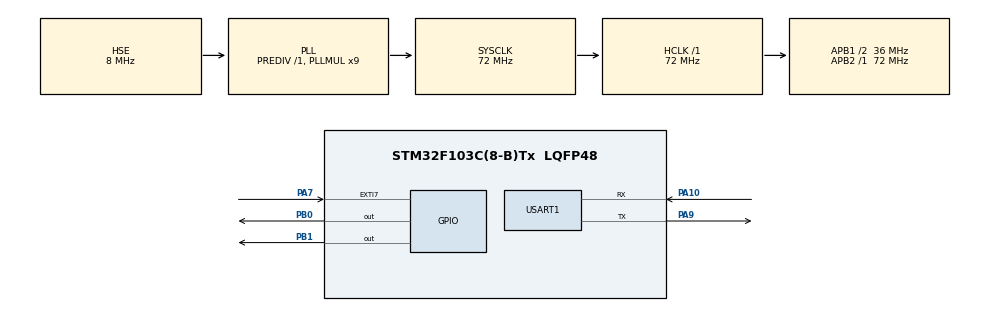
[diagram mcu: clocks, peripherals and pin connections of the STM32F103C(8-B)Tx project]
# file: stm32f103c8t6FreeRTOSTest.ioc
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FREERTOS.BinarySemaphores01=ButtonSemaphore,Dynamic,NULL,Available
FREERTOS.Tasks01=defaultTask,24,128,StartDefaultTask,Default,NULL,Dynamic,NULL,NULL;myTask02,24,128,StartTask02,Default,NULL,Dynamic,NULL,NULL;myTask03,24,128,StartTask03,Default,NULL,Dynamic,NULL,NULL;buttonTaskHandl,40,128,ButtonTask,Default,NULL,Dynamic,NULL,NULL
FREERTOS.configUSE_NEWLIB_REENTRANT=1
Mcu.Family=STM32F1
Mcu.Name=STM32F103C(8-B)Tx
Mcu.Package=LQFP48
NVIC.EXTI9_5_IRQn=true\:5\:0\:false\:false\:true\:true\:true\:true\:true
NVIC.PriorityGroup=NVIC_PRIORITYGROUP_4
NVIC.TIM3_IRQn=true\:15\:0\:false\:false\:true\:false\:false\:true\:true
NVIC.TimeBase=TIM3_IRQn
NVIC.TimeBaseIP=TIM3
PA10.Mode=Asynchronous
PA10.Signal=USART1_RX
PA13.Mode=Serial_Wire
PA13.Signal=SYS_JTMS-SWDIO
PA14.Mode=Serial_Wire
PA14.Signal=SYS_JTCK-SWCLK
PA7.GPIO_ModeDefaultEXTI=GPIO_MODE_IT_FALLING
PA7.GPIO_PuPd=GPIO_PULLUP
PA7.Signal=GPXTI7
PA9.Mode=Asynchronous
PA9.Signal=USART1_TX
PB0.Signal=GPIO_Output
PB1.Signal=GPIO_Output
PD0-OSC_IN.Mode=HSE-External-Oscillator
PD0-OSC_IN.Signal=RCC_OSC_IN
PD1-OSC_OUT.Mode=HSE-External-Oscillator
PD1-OSC_OUT.Signal=RCC_OSC_OUT
ProjectManager.HeapSize=0x200
ProjectManager.StackSize=0x400
ProjectManager.TargetToolchain=STM32CubeIDE
RCC.AHBFreq_Value=72000000
RCC.APB1CLKDivider=RCC_HCLK_DIV2
RCC.APB1Freq_Value=36000000
RCC.APB1TimFreq_Value=72000000
RCC.APB2Freq_Value=72000000
RCC.APB2TimFreq_Value=72000000
RCC.HCLKFreq_Value=72000000
RCC.PLLMUL=RCC_PLL_MUL9
RCC.PLLSourceVirtual=RCC_PLLSOURCE_HSE
RCC.SYSCLKFreq_VALUE=72000000
RCC.SYSCLKSource=RCC_SYSCLKSOURCE_PLLCLK
RCC.USBFreq_Value=72000000
USART1.VirtualMode=VM_ASYNC
VP_FREERTOS_VS_CMSIS_V2.Mode=CMSIS_V2
VP_SYS_VS_tim3.Mode=TIM3
board=custom

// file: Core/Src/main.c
/* USER CODE BEGIN Header */
/**
  ******************************************************************************
  * @file           : main.c
  * @brief          : Main program body
  ******************************************************************************
  * @attention
  *
  * Copyright (c) 2025 STMicroelectronics.
  * All rights reserved.
  *
  * This software is licensed under terms that can be found in the LICENSE file
  * in the root directory of this software component.
  * If no LICENSE file comes with this software, it is provided AS-IS.
  *
  ******************************************************************************
  */
/* USER CODE END Header */
#include "main.h"
#include "cmsis_os.h"
#include "usart.h"
#include "gpio.h"

/* USER CODE BEGIN Includes */

#include "freertos.h"

/* USER CODE END Includes */

/* USER CODE BEGIN PV */

extern osSemaphoreId_t ButtonSemaphoreHandle;

/* USER CODE END PV */

void SystemClock_Config(void);
void MX_FREERTOS_Init(void);

int main(void)
{

  /* MCU Configuration--------------------------------------------------------*/

  /* Reset of all peripherals, Initializes the Flash interface and the Systick. */
  HAL_Init();

  /* Configure the system clock */
  SystemClock_Config();

  /* Initialize all configured peripherals */
  MX_GPIO_Init();
  MX_USART1_UART_Init();

  /* Init scheduler */
  osKernelInitialize();

  /* Call init function for freertos objects (in cmsis_os2.c) */
  MX_FREERTOS_Init();

  /* Start scheduler */
  osKernelStart();

  /* We should never get here as control is now taken by the scheduler */

  /* Infinite loop */
  while (1)
  {

  }
}

void SystemClock_Config(void)
{
  RCC_OscInitTypeDef RCC_OscInitStruct = {0};
  RCC_ClkInitTypeDef RCC_ClkInitStruct = {0};

  /** Initializes the RCC Oscillators according to the specified parameters
  * in the RCC_OscInitTypeDef structure.
  */
  RCC_OscInitStruct.OscillatorType = RCC_OSCILLATORTYPE_HSE;
  RCC_OscInitStruct.HSEState = RCC_HSE_ON;
  RCC_OscInitStruct.HSEPredivValue = RCC_HSE_PREDIV_DIV1;
  RCC_OscInitStruct.HSIState = RCC_HSI_ON;
  RCC_OscInitStruct.PLL.PLLState = RCC_PLL_ON;
  RCC_OscInitStruct.PLL.PLLSource = RCC_PLLSOURCE_HSE;
  RCC_OscInitStruct.PLL.PLLMUL = RCC_PLL_MUL9;
  if (HAL_RCC_OscConfig(&RCC_OscInitStruct) != HAL_OK)
  {
    Error_Handler();
  }

  /** Initializes the CPU, AHB and APB buses clocks
  */
  RCC_ClkInitStruct.ClockType = RCC_CLOCKTYPE_HCLK|RCC_CLOCKTYPE_SYSCLK
                              |RCC_CLOCKTYPE_PCLK1|RCC_CLOCKTYPE_PCLK2;
  RCC_ClkInitStruct.SYSCLKSource = RCC_SYSCLKSOURCE_PLLCLK;
  RCC_ClkInitStruct.AHBCLKDivider = RCC_SYSCLK_DIV1;
  RCC_ClkInitStruct.APB1CLKDivider = RCC_HCLK_DIV2;
  RCC_ClkInitStruct.APB2CLKDivider = RCC_HCLK_DIV1;

  if (HAL_RCC_ClockConfig(&RCC_ClkInitStruct, FLASH_LATENCY_2) != HAL_OK)
  {
    Error_Handler();
  }
}

/* USER CODE BEGIN 4 */

void HAL_GPIO_EXTI_Callback(uint16_t GPIO_Pin)
{
    if (GPIO_Pin == GPIO_PIN_7)
    {
        /* FreeRTOS ISR 안전 처리 */
        BaseType_t xHigherPriorityTaskWoken = pdFALSE;

        /* CubeMX에서 생성된 세마포어 사용 */
        if (ButtonSemaphoreHandle != NULL) {
            osSemaphoreRelease(ButtonSemaphoreHandle);
        }

        /* 필요시 컨텍스트 스위치 요청 */
        portYIELD_FROM_ISR(xHigherPriorityTaskWoken);
    }
}

/* USER CODE END 4 */

void HAL_TIM_PeriodElapsedCallback(TIM_HandleTypeDef *htim)
{
  if (htim->Instance == TIM3)
  {
    HAL_IncTick();
  }
}

void Error_Handler(void)
{
  __disable_irq();
  while (1)
  {
  }
}

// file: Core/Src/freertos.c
/* USER CODE BEGIN Header */
/**
  ******************************************************************************
  * File Name          : freertos.c
  * Description        : Code for freertos applications
  ******************************************************************************
  * @attention
  *
  * Copyright (c) 2025 STMicroelectronics.
  * All rights reserved.
  *
  * This software is licensed under terms that can be found in the LICENSE file
  * in the root directory of this software component.
  * If no LICENSE file comes with this software, it is provided AS-IS.
  *
  ******************************************************************************
  */
/* USER CODE END Header */

#include "FreeRTOS.h"
#include "task.h"
#include "main.h"
#include "cmsis_os.h"

/* USER CODE BEGIN Includes */

#include <stdio.h>
#include <string.h>

/* USER CODE END Includes */

/* USER CODE BEGIN Variables */

extern UART_HandleTypeDef huart1;

/* USER CODE END Variables */
/* Definitions for defaultTask */
osThreadId_t defaultTaskHandle;
const osThreadAttr_t defaultTask_attributes = {
  .name = "defaultTask",
  .stack_size = 128 * 4,
  .priority = (osPriority_t) osPriorityNormal,
};
/* Definitions for myTask02 */
osThreadId_t myTask02Handle;
const osThreadAttr_t myTask02_attributes = {
  .name = "myTask02",
  .stack_size = 128 * 4,
  .priority = (osPriority_t) osPriorityNormal,
};
/* Definitions for myTask03 */
osThreadId_t myTask03Handle;
const osThreadAttr_t myTask03_attributes = {
  .name = "myTask03",
  .stack_size = 128 * 4,
  .priority = (osPriority_t) osPriorityNormal,
};
/* Definitions for buttonTaskHandl */
osThreadId_t buttonTaskHandlHandle;
const osThreadAttr_t buttonTaskHandl_attributes = {
  .name = "buttonTaskHandl",
  .stack_size = 128 * 4,
  .priority = (osPriority_t) osPriorityHigh,
};
/* Definitions for ButtonSemaphore */
osSemaphoreId_t ButtonSemaphoreHandle;
const osSemaphoreAttr_t ButtonSemaphore_attributes = {
  .name = "ButtonSemaphore"
};

void StartDefaultTask(void *argument);
void StartTask02(void *argument);
void StartTask03(void *argument);
void ButtonTask(void *argument);

void MX_FREERTOS_Init(void); /* (MISRA C 2004 rule 8.1) */

void MX_FREERTOS_Init(void) {

  /* Create the semaphores(s) */
  /* creation of ButtonSemaphore */
  ButtonSemaphoreHandle = osSemaphoreNew(1, 0, &ButtonSemaphore_attributes);

  /* Create the thread(s) */
  /* creation of defaultTask */
  defaultTaskHandle = osThreadNew(StartDefaultTask, NULL, &defaultTask_attributes);

  /* creation of myTask02 */
  myTask02Handle = osThreadNew(StartTask02, NULL, &myTask02_attributes);

  /* creation of myTask03 */
  myTask03Handle = osThreadNew(StartTask03, NULL, &myTask03_attributes);

  /* creation of buttonTaskHandl */
  buttonTaskHandlHandle = osThreadNew(ButtonTask, NULL, &buttonTaskHandl_attributes);

}

void StartDefaultTask(void *argument)
{
  /* USER CODE BEGIN StartDefaultTask */
  /* Infinite loop */
  char buffer[30];
  snprintf(buffer, sizeof(buffer), "FreeRTOS Started \r\n");
  for(;;)
  {
    osDelay(1000);
  }
  /* USER CODE END StartDefaultTask */
}

void StartTask02(void *argument)
{
  /* USER CODE BEGIN StartTask02 */
  uint8_t ledState = 0;

  char buffer[50];
	snprintf(buffer, sizeof(buffer), "LED Control Task Started \r\n");
	HAL_UART_Transmit(&huart1, (uint8_t*)buffer, strlen(buffer), 100);

  /* Infinite loop */
  for(;;)
  {

    uint32_t notification = ulTaskNotifyTake(pdTRUE, portMAX_DELAY);
    if (notification > 0) {
      ledState = !ledState;

      if (ledState) {
        HAL_GPIO_WritePin(GPIOB, GPIO_PIN_0, GPIO_PIN_SET);
        HAL_GPIO_WritePin(GPIOB, GPIO_PIN_1, GPIO_PIN_RESET);
        snprintf(buffer, sizeof(buffer), "First_LED ON / Second_LED OFF \r\n");
      } else {
        HAL_GPIO_WritePin(GPIOB, GPIO_PIN_1, GPIO_PIN_SET);
        HAL_GPIO_WritePin(GPIOB, GPIO_PIN_0, GPIO_PIN_RESET);
        snprintf(buffer, sizeof(buffer), "First_LED OFF / Second_LED ON \r\n");
      }
      HAL_UART_Transmit(&huart1, (uint8_t*)buffer, strlen(buffer), 100);
    }
    else {
      snprintf(buffer, sizeof(buffer), "Button not pressed \r\n");
      HAL_UART_Transmit(&huart1, (uint8_t*)buffer, strlen(buffer), 100);
    }

  }
  /* USER CODE END StartTask02 */
}

void StartTask03(void *argument)
{
  /* USER CODE BEGIN StartTask03 */
  char buffer[30];
  uint32_t heartbeat_count = 0;

  snprintf(buffer, sizeof(buffer), "Heartbeat Task Started\r\n");
  HAL_UART_Transmit(&huart1, (uint8_t*)buffer, strlen(buffer), 100);

  /* Infinite loop */
  for(;;)
  {
    heartbeat_count++;
    snprintf(buffer, sizeof(buffer), "Heartbeat: %lu\r\n", heartbeat_count);
    HAL_UART_Transmit(&huart1, (uint8_t*)buffer, strlen(buffer), 100);
    osDelay(5000); // 5초마다 하트비트
  }
  /* USER CODE END StartTask03 */
}

void ButtonTask(void *argument)
{
  /* USER CODE BEGIN ButtonTask */

    uint32_t last_press_time = 0;
    const uint32_t debounce_delay = 50; // 50ms 디바운싱
    uint32_t button_count = 0;
    char buffer[50];

    snprintf(buffer, sizeof(buffer), "Button Task Started\r\n");
    HAL_UART_Transmit(&huart1, (uint8_t*)buffer, strlen(buffer), 100);

  /* Infinite loop */
  for(;;)
  {
    /* CubeMX 생성 세마포어로부터 신호 대기 */
    if (osSemaphoreAcquire(ButtonSemaphoreHandle, osWaitForever) == osOK)
    {
      uint32_t current_time = osKernelGetTickCount();

      /* 디바운싱 처리 */
      if ((current_time - last_press_time) > debounce_delay)
        {
          button_count++;

          snprintf(buffer, sizeof(buffer), "Button Pressed! Count: %lu\r\n", button_count);
          HAL_UART_Transmit(&huart1, (uint8_t*)buffer, strlen(buffer), 100);

          /* LED 제어 태스크에 알림 전송 */
          xTaskNotifyGive(myTask02Handle);

          last_press_time = current_time;
        }
        else
        {
          snprintf(buffer, sizeof(buffer), "Button bounce ignored\r\n");
          HAL_UART_Transmit(&huart1, (uint8_t*)buffer, strlen(buffer), 100);
        }
    }

  }
  /* USER CODE END ButtonTask */
}
